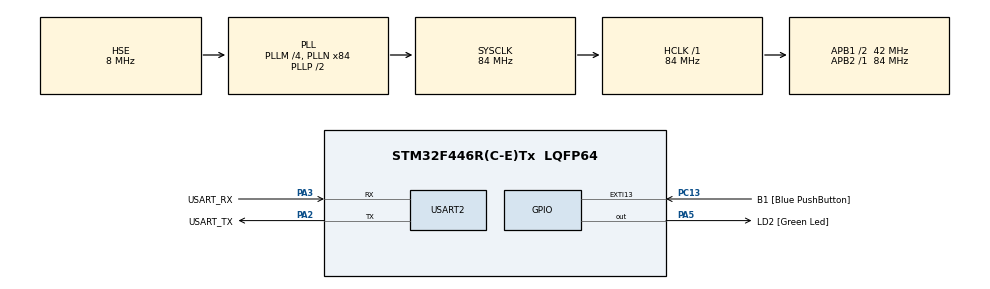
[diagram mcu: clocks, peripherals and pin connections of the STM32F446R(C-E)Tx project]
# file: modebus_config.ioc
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Mcu.Family=STM32F4
Mcu.Name=STM32F446R(C-E)Tx
Mcu.Package=LQFP64
NVIC.PriorityGroup=NVIC_PRIORITYGROUP_0
PA13.GPIO_Label=TMS
PA13.Mode=Serial_Wire
PA13.Signal=SYS_JTMS-SWDIO
PA14.GPIO_Label=TCK
PA14.Mode=Serial_Wire
PA14.Signal=SYS_JTCK-SWCLK
PA2.GPIO_Label=USART_TX
PA2.Mode=Asynchronous
PA2.Signal=USART2_TX
PA3.GPIO_Label=USART_RX
PA3.Mode=Asynchronous
PA3.Signal=USART2_RX
PA5.GPIO_Label=LD2 [Green Led]
PA5.Signal=GPIO_Output
PB3.GPIO_Label=SWO
PB3.Signal=SYS_JTDO-SWO
PC13.GPIO_Label=B1 [Blue PushButton]
PC13.GPIO_ModeDefaultEXTI=GPIO_MODE_IT_FALLING
PC13.Signal=GPXTI13
PC14-OSC32_IN.Mode=LSE-External-Oscillator
PC14-OSC32_IN.Signal=RCC_OSC32_IN
PC15-OSC32_OUT.Mode=LSE-External-Oscillator
PC15-OSC32_OUT.Signal=RCC_OSC32_OUT
PH0-OSC_IN.Mode=HSE-External-Oscillator
PH0-OSC_IN.Signal=RCC_OSC_IN
PH1-OSC_OUT.Mode=HSE-External-Oscillator
PH1-OSC_OUT.Signal=RCC_OSC_OUT
ProjectManager.HeapSize=0x200
ProjectManager.StackSize=0x400
ProjectManager.TargetToolchain=STM32CubeIDE
RCC.48MHZClocksFreq_Value=84000000
RCC.AHBFreq_Value=84000000
RCC.APB1CLKDivider=RCC_HCLK_DIV2
RCC.APB1Freq_Value=42000000
RCC.APB1TimFreq_Value=84000000
RCC.APB2Freq_Value=84000000
RCC.APB2TimFreq_Value=84000000
RCC.CortexFreq_Value=84000000
RCC.FLatency-AdvancedSettings=FLASH_LATENCY_2
RCC.HCLKFreq_Value=84000000
RCC.HSE_VALUE=8000000
RCC.HSI_VALUE=16000000
RCC.PLLM=4
RCC.PLLN=84
RCC.PLLSourceVirtual=RCC_PLLSOURCE_HSE
RCC.SYSCLKFreq_VALUE=84000000
RCC.SYSCLKSource=RCC_SYSCLKSOURCE_PLLCLK
RCC.USBFreq_Value=84000000
RCC.VCOOutputFreq_Value=168000000
TIM10.Prescaler=4199
USART2.Parity=PARITY_EVEN
USART2.VirtualMode=VM_ASYNC
USART2.WordLength=WORDLENGTH_9B
VP_TIM10_VS_ClockSourceINT.Mode=Enable_Timer
board=NUCLEO-F446RE

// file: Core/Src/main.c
/* USER CODE BEGIN Header */
/**
  ******************************************************************************
  * @file           : main.c
  * @brief          : Main program body
  ******************************************************************************
  * @attention
  *
  * Copyright (c) 2024 STMicroelectronics.
  * All rights reserved.
  *
  * This software is licensed under terms that can be found in the LICENSE file
  * in the root directory of this software component.
  * If no LICENSE file comes with this software, it is provided AS-IS.
  *
  ******************************************************************************
  */
/* USER CODE END Header */
#include "main.h"
#include "microtbx.h"
#include "microtbxmodbus.h"

/* USER CODE BEGIN PTD */
extern TIM_HandleTypeDef htim10;
extern UART_HandleTypeDef huart2;
/* USER CODE END PTD */

TIM_HandleTypeDef htim10;

UART_HandleTypeDef huart2;

/* USER CODE BEGIN PV */
tTbxMbTp modbusTp;
tTbxMbServer modbusServer;

static uint8_t rxByte;
/* USER CODE END PV */

void SystemClock_Config(void);
static void MX_GPIO_Init(void);
static void MX_USART2_UART_Init(void);
static void MX_TIM10_Init(void);

/* USER CODE BEGIN 0 */
tTbxMbServerResult ModbusReadInputReg(tTbxMbServer   channel,
                                      uint16_t       addr,
                                      uint16_t     * value)
{
  tTbxMbServerResult result = TBX_MB_SERVER_OK;

  /* Filter on the requested input register address. */
  switch (addr)
  {
  case 30000U:
    *value = 1234U;
    break;

  case 30001U:
    *value = 5678U;
    break;

  default:
    /* Unsupported input register address. */
    result = TBX_MB_SERVER_ERR_ILLEGAL_DATA_ADDR;
    break;
  }

  /* Give the result back to the caller. */
  return result;
}
/* USER CODE END 0 */

int main(void)
{
  /* USER CODE BEGIN 1 */
	modbusTp = TbxMbRtuCreate(10, TBX_MB_UART_PORT1, TBX_MB_UART_19200BPS,
	                          TBX_MB_UART_1_STOPBITS, TBX_MB_EVEN_PARITY);
	modbusServer = TbxMbServerCreate(modbusTp);
  /* USER CODE END 1 */

  /* MCU Configuration--------------------------------------------------------*/

  /* Reset of all peripherals, Initializes the Flash interface and the Systick. */
  HAL_Init();

  /* Configure the system clock */
  SystemClock_Config();

  /* Initialize all configured peripherals */
  MX_GPIO_Init();
  MX_USART2_UART_Init();
  MX_TIM10_Init();

  /* Infinite loop */
  while (1)
  {
	  TbxMbEventTask();
  }
}

void HAL_UART_RxCpltCallback(UART_HandleTypeDef * handle)
{
  uint32_t errorCode = HAL_UART_GetError(&huart2);
  /* Only process the byte if no noise, framing or parity error was detected. */
  if ((errorCode & (HAL_UART_ERROR_NE|HAL_UART_ERROR_PE|HAL_UART_ERROR_FE)) == 0U)
  {
    /* Inform the Modbus UART module about the newly received data byte. */
    TbxMbUartDataReceived(TBX_MB_UART_PORT1, &rxByte, 1U);
  }
  /* Restart reception for the next byte. */
  HAL_UART_Receive_IT(&huart2, &rxByte, 1U);
}

void HAL_UART_TxCpltCallback(UART_HandleTypeDef * handle)
{
  /* Inform the Modbus UART module about the transmission completed event. */
  TbxMbUartTransmitComplete(TBX_MB_UART_PORT1);
}

void SystemClock_Config(void)
{
  RCC_OscInitTypeDef RCC_OscInitStruct = {0};
  RCC_ClkInitTypeDef RCC_ClkInitStruct = {0};

  /** Configure the main internal regulator output voltage
  */
  __HAL_RCC_PWR_CLK_ENABLE();
  __HAL_PWR_VOLTAGESCALING_CONFIG(PWR_REGULATOR_VOLTAGE_SCALE3);

  /** Initializes the RCC Oscillators according to the specified parameters
  * in the RCC_OscInitTypeDef structure.
  */
  RCC_OscInitStruct.OscillatorType = RCC_OSCILLATORTYPE_HSE;
  RCC_OscInitStruct.HSEState = RCC_HSE_ON;
  RCC_OscInitStruct.PLL.PLLState = RCC_PLL_ON;
  RCC_OscInitStruct.PLL.PLLSource = RCC_PLLSOURCE_HSE;
  RCC_OscInitStruct.PLL.PLLM = 4;
  RCC_OscInitStruct.PLL.PLLN = 84;
  RCC_OscInitStruct.PLL.PLLP = RCC_PLLP_DIV2;
  RCC_OscInitStruct.PLL.PLLQ = 2;
  RCC_OscInitStruct.PLL.PLLR = 2;
  if (HAL_RCC_OscConfig(&RCC_OscInitStruct) != HAL_OK)
  {
    Error_Handler();
  }

  /** Initializes the CPU, AHB and APB buses clocks
  */
  RCC_ClkInitStruct.ClockType = RCC_CLOCKTYPE_HCLK|RCC_CLOCKTYPE_SYSCLK
                              |RCC_CLOCKTYPE_PCLK1|RCC_CLOCKTYPE_PCLK2;
  RCC_ClkInitStruct.SYSCLKSource = RCC_SYSCLKSOURCE_PLLCLK;
  RCC_ClkInitStruct.AHBCLKDivider = RCC_SYSCLK_DIV1;
  RCC_ClkInitStruct.APB1CLKDivider = RCC_HCLK_DIV2;
  RCC_ClkInitStruct.APB2CLKDivider = RCC_HCLK_DIV1;

  if (HAL_RCC_ClockConfig(&RCC_ClkInitStruct, FLASH_LATENCY_2) != HAL_OK)
  {
    Error_Handler();
  }
}

static void MX_TIM10_Init(void)
{

  htim10.Instance = TIM10;
  htim10.Init.Prescaler = 4199;
  htim10.Init.CounterMode = TIM_COUNTERMODE_UP;
  htim10.Init.Period = 65535;
  htim10.Init.ClockDivision = TIM_CLOCKDIVISION_DIV1;
  htim10.Init.AutoReloadPreload = TIM_AUTORELOAD_PRELOAD_DISABLE;
  if (HAL_TIM_Base_Init(&htim10) != HAL_OK)
  {
    Error_Handler();
  }

}

static void MX_USART2_UART_Init(void)
{

  huart2.Instance = USART2;
  huart2.Init.BaudRate = 115200;
  huart2.Init.WordLength = UART_WORDLENGTH_9B;
  huart2.Init.StopBits = UART_STOPBITS_1;
  huart2.Init.Parity = UART_PARITY_EVEN;
  huart2.Init.Mode = UART_MODE_TX_RX;
  huart2.Init.HwFlowCtl = UART_HWCONTROL_NONE;
  huart2.Init.OverSampling = UART_OVERSAMPLING_16;
  if (HAL_UART_Init(&huart2) != HAL_OK)
  {
    Error_Handler();
  }

}

static void MX_GPIO_Init(void)
{
  GPIO_InitTypeDef GPIO_InitStruct = {0};

  /* GPIO Ports Clock Enable */
  __HAL_RCC_GPIOC_CLK_ENABLE();
  __HAL_RCC_GPIOH_CLK_ENABLE();
  __HAL_RCC_GPIOA_CLK_ENABLE();
  __HAL_RCC_GPIOB_CLK_ENABLE();

  /*Configure GPIO pin Output Level */
  HAL_GPIO_WritePin(LD2_GPIO_Port, LD2_Pin, GPIO_PIN_RESET);

  /*Configure GPIO pin : B1_Pin */
  GPIO_InitStruct.Pin = B1_Pin;
  GPIO_InitStruct.Mode = GPIO_MODE_IT_FALLING;
  GPIO_InitStruct.Pull = GPIO_NOPULL;
  HAL_GPIO_Init(B1_GPIO_Port, &GPIO_InitStruct);

  /*Configure GPIO pin : LD2_Pin */
  GPIO_InitStruct.Pin = LD2_Pin;
  GPIO_InitStruct.Mode = GPIO_MODE_OUTPUT_PP;
  GPIO_InitStruct.Pull = GPIO_NOPULL;
  GPIO_InitStruct.Speed = GPIO_SPEED_FREQ_LOW;
  HAL_GPIO_Init(LD2_GPIO_Port, &GPIO_InitStruct);

}

void Error_Handler(void)
{
  __disable_irq();
  while (1)
  {
  }
}
